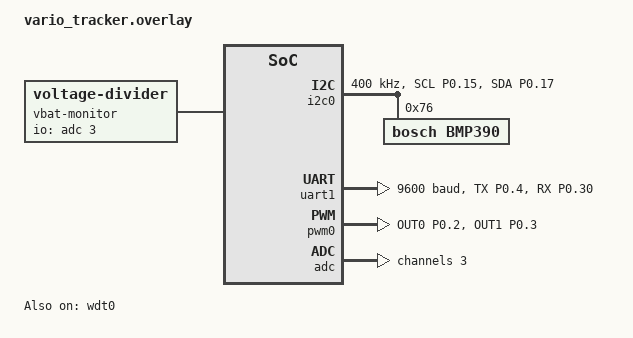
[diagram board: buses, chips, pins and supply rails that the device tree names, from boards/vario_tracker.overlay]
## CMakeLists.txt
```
cmake_minimum_required(VERSION 3.20.0)
list(APPEND BOARD_ROOT ${CMAKE_CURRENT_SOURCE_DIR})
find_package(Zephyr REQUIRED HINTS $ENV{ZEPHYR_BASE})
project(vario_gps_ble LANGUAGES C CXX)

target_compile_options(app PRIVATE -Wall -Wextra -Werror -Wno-unused-parameter)

target_include_directories(app PRIVATE
    ${CMAKE_CURRENT_SOURCE_DIR}/src
)

# Source files — HAL
target_sources(app PRIVATE
    src/hal/i2c_hal.cpp
    src/hal/sensor_bus_hal.cpp
    src/hal/uart_hal.cpp
    src/hal/pwm_hal.cpp
    src/hal/adc_hal.cpp
    src/hal/ble_hal.cpp
)

# Source files — drivers
target_sources(app PRIVATE
    src/drivers/bmp390.cpp
    src/drivers/sam_m10q.cpp
    src/drivers/ubx_parser.cpp
)

# Source files — middleware
target_sources(app PRIVATE
    src/middleware/vario_engine.cpp
    src/middleware/lk8ex1_formatter.cpp
    src/middleware/ble_service.cpp
    src/middleware/ble_gatt.c
    src/middleware/gnss_processor.cpp
    src/middleware/buzzer.cpp
    src/middleware/battery_monitor.cpp
)

# Source files — app
target_sources(app PRIVATE
    src/app/vario_app.cpp
    src/main.cpp
)
```

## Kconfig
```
mainmenu "VarioGPS-BLE Application"

source "Kconfig.zephyr"
```

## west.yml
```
manifest:
  remotes:
    - name: nrfconnect
      url-base: https://github.com/nrfconnect
  projects:
    - name: sdk-nrf
      path: nrf
      remote: nrfconnect
      revision: v2.9.0
      import: true
  self:
    path: vario-gps-ble
```

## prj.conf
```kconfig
# ─── Core & C++ ───
CONFIG_CPP=y
CONFIG_STD_CPP17=y
CONFIG_CPP_EXCEPTIONS=n
CONFIG_CPP_RTTI=n
CONFIG_MINIMAL_LIBC=y
CONFIG_SIZE_OPTIMIZATIONS=y
# BT host/settings need a small heap; raise if bt_enable() returns -ENOMEM
CONFIG_HEAP_MEM_POOL_SIZE=2048
CONFIG_MAIN_STACK_SIZE=2048
CONFIG_SYSTEM_WORKQUEUE_STACK_SIZE=2048

# ─── Logging: RTT over SWD (no UART console: no free UART pins) ───
CONFIG_LOG=y
CONFIG_LOG_DEFAULT_LEVEL=3
CONFIG_USE_SEGGER_RTT=y
CONFIG_LOG_BACKEND_RTT=y
CONFIG_LOG_BACKEND_UART=n
CONFIG_CONSOLE=n
CONFIG_UART_CONSOLE=n

# ─── Peripherals ───
CONFIG_GPIO=y
CONFIG_I2C=y
CONFIG_I2C_NRFX=y

CONFIG_SERIAL=y
CONFIG_UART_NRFX=y
# Interrupt-driven UART with ring buffer (not async API)
CONFIG_UART_INTERRUPT_DRIVEN=y
CONFIG_UART_USE_RUNTIME_CONFIGURE=y
CONFIG_RING_BUFFER=y

CONFIG_PWM=y
CONFIG_PWM_NRFX=y

CONFIG_ADC=y
CONFIG_ADC_NRFX_SAADC=y

# ─── Watchdog (board has no reset button) ───
CONFIG_WATCHDOG=y
CONFIG_WDT_NRFX=y
CONFIG_WDT_DISABLE_AT_BOOT=n

# ─── Flash & persistent settings ───
CONFIG_FLASH=y
CONFIG_FLASH_MAP=y
CONFIG_FLASH_PAGE_LAYOUT=y
CONFIG_NVS=y
CONFIG_SETTINGS=y
CONFIG_SETTINGS_NVS=y

# ─── Bluetooth LE ───
CONFIG_BT=y
CONFIG_BT_PERIPHERAL=y
CONFIG_BT_DEVICE_NAME="VarioGPS"
CONFIG_BT_MAX_CONN=1
CONFIG_BT_GATT_DYNAMIC_DB=n
CONFIG_BT_AUTO_PHY_UPDATE=y
CONFIG_BT_L2CAP_TX_MTU=247
CONFIG_BT_BUF_ACL_TX_SIZE=251
CONFIG_BT_BUF_ACL_RX_SIZE=251
CONFIG_BT_CTLR_DATA_LENGTH_MAX=251
CONFIG_BT_SETTINGS=n

# ─── Clocks ───
CONFIG_CLOCK_CONTROL_NRF_K32SRC_XTAL=y
```

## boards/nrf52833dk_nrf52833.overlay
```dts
#include "vario_tracker.overlay"
```

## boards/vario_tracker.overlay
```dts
/ {
    chosen {
        /* Segger RTT is used for logging over SWD; no UART0 console */
        zephyr,console = &rtt0;
        zephyr,shell-uart = &rtt0;
    };

    aliases {
        buzzer-pwm = &pwm0;
        baro-i2c = &i2c0;
        gps-uart = &uart1;
        watchdog0 = &wdt0;
    };

    /* Battery voltage divider description */
    vbat-monitor {
        compatible = "voltage-divider";
        io-channels = <&adc 3>;  /* AIN3 = P0.05 */
        output-ohms = <4700000>; /* R12 = 4.7 MΩ (bottom) */
        full-ohms   = <9400000>; /* R11 + R12 = 9.4 MΩ (total) */
    };

    rtt0: rtt_channel0 {
        compatible = "segger,rtt-uart";
        status = "okay";
    };
};

/* Watchdog (board has no reset button) */
&wdt0 {
    status = "okay";
};

/* Disable unused UART0 console */
&uart0 {
    status = "disabled";
};

/* I2C0 — BMP390 barometer */
&i2c0 {
    compatible = "nordic,nrf-twim";
    status = "okay";
    pinctrl-0 = <&i2c0_default>;
    pinctrl-1 = <&i2c0_sleep>;
    pinctrl-names = "default", "sleep";
    clock-frequency = <I2C_BITRATE_FAST>;  /* 400 kHz */

    bmp390: bmp390@76 {
        compatible = "bosch,bmp390";
        reg = <0x76>;
    };
};

/* UART1 — SAM-M10Q GNSS */
&uart1 {
    compatible = "nordic,nrf-uarte";
    status = "okay";
    current-speed = <9600>;
    pinctrl-0 = <&uart1_default>;
    pinctrl-1 = <&uart1_sleep>;
    pinctrl-names = "default", "sleep";
};

/* PWM0 — Buzzer (differential: 2 channels, inverted) */
&pwm0 {
    status = "okay";
    pinctrl-0 = <&pwm0_default>;
    pinctrl-1 = <&pwm0_sleep>;
    pinctrl-names = "default", "sleep";
};

/* SAADC — Battery voltage */
&adc {
    status = "okay";
    #address-cells = <1>;
    #size-cells = <0>;

    channel@3 {
        reg = <3>;
        zephyr,gain = "ADC_GAIN_1_4";
        zephyr,reference = "ADC_REF_INTERNAL";
        zephyr,acquisition-time = <ADC_ACQ_TIME(ADC_ACQ_TIME_MICROSECONDS, 40)>;
        zephyr,input-positive = <NRF_SAADC_AIN3>;
        zephyr,resolution = <12>;
    };
};

/* Pin control */
&pinctrl {
    i2c0_default: i2c0_default {
        group1 {
            psels = <NRF_PSEL(TWIM_SCL, 0, 15)>,
                    <NRF_PSEL(TWIM_SDA, 0, 17)>;
            nordic,drive-mode = <NRF_DRIVE_S0D1>;
        };
    };

    i2c0_sleep: i2c0_sleep {
        group1 {
            psels = <NRF_PSEL(TWIM_SCL, 0, 15)>,
                    <NRF_PSEL(TWIM_SDA, 0, 17)>;
            low-power-enable;
        };
    };

    uart1_default: uart1_default {
        group1 {
            psels = <NRF_PSEL(UART_TX, 0, 4)>;
        };
        group2 {
            psels = <NRF_PSEL(UART_RX, 0, 30)>;
            bias-pull-up;
        };
    };

    uart1_sleep: uart1_sleep {
        group1 {
            psels = <NRF_PSEL(UART_TX, 0, 4)>,
                    <NRF_PSEL(UART_RX, 0, 30)>;
            low-power-enable;
        };
    };

    pwm0_default: pwm0_default {
        group1 {
            psels = <NRF_PSEL(PWM_OUT0, 0, 2)>,   /* BUZ1 */
                    <NRF_PSEL(PWM_OUT1, 0, 3)>;   /* BUZ2 */
        };
    };

    pwm0_sleep: pwm0_sleep {
        group1 {
            psels = <NRF_PSEL(PWM_OUT0, 0, 2)>,
                    <NRF_PSEL(PWM_OUT1, 0, 3)>;
            low-power-enable;
        };
    };
};
```

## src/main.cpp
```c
/// @file main.cpp
/// @brief Zephyr application entry point for VarioGPS-BLE.

#include <zephyr/kernel.h>
#include "app/vario_app.hpp"
#include "hal/pwm_hal.hpp"

int main(void)
{
    const vario::Error err = vario::app::vario_app_init();
    if (err != vario::Error::kOk) {
        // FATAL only (PWM/BMP390/engine). Watchdog is not armed yet: no feeding needed.
        while (true) {
            for (uint8_t i = 0; i < 3; ++i) {
                (void)vario::hal::pwm_set_frequency(2000);
                k_msleep(100);
                (void)vario::hal::pwm_stop();
                k_msleep(100);
            }
            k_msleep(1400);
        }
    }

    vario::app::vario_app_run();
    return 0;
}
```
